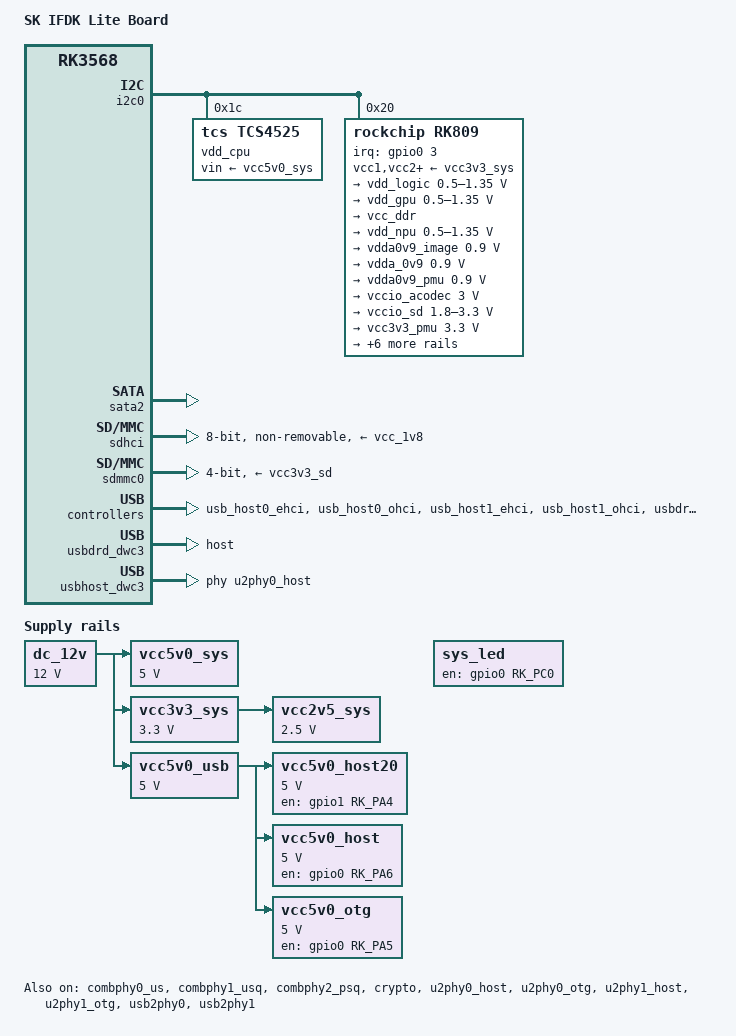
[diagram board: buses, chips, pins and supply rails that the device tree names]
// SPDX-License-Identifier: (GPL-2.0+ OR MIT)
/*
* Copyright (c) 2020 Rockchip Electronics Co., Ltd.
* Copyright (c) 2025 Sergey Kharenko
*/

/dts-v1/;

#include "rk3568.dtsi"
#include "rk3568-u-boot.dtsi"
#include <dt-bindings/input/input.h>

/ {
	model = "SK IFDK Lite Board";
	compatible = "sk,ifdk-lite", "rockchip,rk3568";

    aliases {
		mmc0 = &sdhci;
        mmc1 = &sdmmc0;
		scsi = &sata2;
	};

	dc_12v: dc-12v {
        u-boot,dm-pre-reloc;
		compatible = "regulator-fixed";
		regulator-name = "dc_12v";
		regulator-always-on;
		regulator-boot-on;
		regulator-min-microvolt = <12000000>;
		regulator-max-microvolt = <12000000>;
	};

    sys_led: sys-led {
		u-boot,dm-pre-reloc;
		compatible = "regulator-fixed";
        regulator-boot-on;
		regulator-name = "sys_led";
		enable-active-high;
        pinctrl-names = "default";
		pinctrl-0 = <&sys_led_pin>;
		gpios = <&gpio0 RK_PC0 GPIO_ACTIVE_HIGH>;
	};

    vcc5v0_sys: vcc5v0-sys {
        u-boot,dm-pre-reloc;
		compatible = "regulator-fixed";
		regulator-name = "vcc5v0_sys";
		regulator-always-on;
		regulator-boot-on;
		regulator-min-microvolt = <5000000>;
		regulator-max-microvolt = <5000000>;
        vin-supply = <&dc_12v>;
	};

    vcc3v3_sys: vcc3v3-sys {
        u-boot,dm-pre-reloc;
		compatible = "regulator-fixed";
		regulator-name = "vcc3v3_sys";
		regulator-always-on;
		regulator-boot-on;
		regulator-min-microvolt = <3300000>;
		regulator-max-microvolt = <3300000>;
        vin-supply = <&dc_12v>;
	};

    vcc2v5_sys: vcc2v5-ddr {
        u-boot,dm-pre-reloc;
		compatible = "regulator-fixed";
		regulator-name = "vcc2v5-sys";
		regulator-always-on;
		regulator-boot-on;
		regulator-min-microvolt = <2500000>;
		regulator-max-microvolt = <2500000>;
		vin-supply = <&vcc3v3_sys>;
	};

	vcc5v0_host20: vcc5v0-host20-regulator {
		u-boot,dm-pre-reloc;
		compatible = "regulator-fixed";
		regulator-name = "vcc5v0_host20";
		regulator-boot-on;
		regulator-always-on;
		regulator-min-microvolt = <5000000>;
		regulator-max-microvolt = <5000000>;
		enable-active-high;
		gpios = <&gpio1 RK_PA4 GPIO_ACTIVE_HIGH>;
		vin-supply = <&vcc5v0_usb>;
		pinctrl-names = "default";
		pinctrl-0 = <&vcc5v0_host20_en>;
	};

	vcc5v0_host: vcc5v0-host-regulator {
        u-boot,dm-pre-reloc;
		compatible = "regulator-fixed";
		regulator-name = "vcc5v0_host";
		regulator-boot-on;
		regulator-always-on;
		regulator-min-microvolt = <5000000>;
		regulator-max-microvolt = <5000000>;
		enable-active-high;
		gpios = <&gpio0 RK_PA6 GPIO_ACTIVE_HIGH>;
		vin-supply = <&vcc5v0_usb>;
		pinctrl-names = "default";
		pinctrl-0 = <&vcc5v0_host_en>;
	};

	vcc5v0_otg: vcc5v0-otg-regulator {
        u-boot,dm-pre-reloc;
		compatible = "regulator-fixed";
		regulator-name = "vcc5v0_otg";
        regulator-boot-on;
		regulator-always-on;
		regulator-min-microvolt = <5000000>;
		regulator-max-microvolt = <5000000>;
		enable-active-high;
		gpios = <&gpio0 RK_PA5 GPIO_ACTIVE_HIGH>;
		vin-supply = <&vcc5v0_usb>;
		pinctrl-names = "default";
		pinctrl-0 = <&vcc5v0_otg_en>;
	};

	vcc5v0_usb: vcc5v0-usb {
        u-boot,dm-pre-reloc;
		compatible = "regulator-fixed";
		regulator-name = "vcc5v0_usb";
		regulator-always-on;
		regulator-boot-on;
		regulator-min-microvolt = <5000000>;
		regulator-max-microvolt = <5000000>;
		vin-supply = <&dc_12v>;
	};
};

&combphy0_us {
    u-boot,dm-pre-reloc;
    status = "okay";
};

&combphy1_usq {
    u-boot,dm-pre-reloc;
    status = "okay";
};

&combphy2_psq {
	u-boot,dm-pre-reloc;
	status = "okay";
};

&crypto {
	status = "okay";
};

&gpio0 {
	u-boot,dm-pre-reloc;
	status = "okay";
};

&gpio1 {
	u-boot,dm-pre-reloc;
	status = "okay";
};

&gpio3 {
	u-boot,dm-pre-reloc;
	status = "okay";
};

&gpio4 {
	u-boot,dm-pre-reloc;
	status = "okay";
};

&i2c0 {
    u-boot,dm-pre-reloc;
	status = "okay";

	vdd_cpu: tcs4525@1c {
        u-boot,dm-pre-reloc;
		compatible = "tcs,tcs4525";
		reg = <0x1c>;
		vin-supply = <&vcc5v0_sys>;
		regulator-compatible = "fan53555-reg";
		regulator-name = "vdd_cpu";
		regulator-min-microvolt = <712500>;
		regulator-max-microvolt = <1390000>;
		regulator-init-microvolt = <900000>;
		regulator-ramp-delay = <2300>;
		fcs,suspend-voltage-selector = <1>;
		regulator-boot-on;
		regulator-always-on;
		regulator-state-mem {
            u-boot,dm-pre-reloc;
			regulator-off-in-suspend;
		};
	};

	rk809: pmic@20 {
        u-boot,dm-pre-reloc;
		compatible = "rockchip,rk809";
		reg = <0x20>;
		interrupt-parent = <&gpio0>;
		interrupts = <3 IRQ_TYPE_LEVEL_LOW>;

		pinctrl-names = "default", "pmic-sleep",
				"pmic-power-off", "pmic-reset";
		pinctrl-0 = <&pmic_int>;
		pinctrl-1 = <&soc_slppin_slp>, <&rk817_slppin_slp>;
		pinctrl-2 = <&soc_slppin_gpio>, <&rk817_slppin_pwrdn>;
		pinctrl-3 = <&soc_slppin_gpio>, <&rk817_slppin_rst>;

		rockchip,system-power-controller;
		wakeup-source;
		#clock-cells = <1>;
		clock-output-names = "rk808-clkout1", "rk808-clkout2";
		//fb-inner-reg-idxs = <2>;
		/* 1: rst regs (default in codes), 0: rst the pmic */
		pmic-reset-func = <0>;
		/* not save the PMIC_POWER_EN register in uboot */
		not-save-power-en = <1>;

		vcc1-supply = <&vcc3v3_sys>;
		vcc2-supply = <&vcc3v3_sys>;
		vcc3-supply = <&vcc3v3_sys>;
		vcc4-supply = <&vcc3v3_sys>;
		vcc5-supply = <&vcc3v3_sys>;
		vcc6-supply = <&vcc3v3_sys>;
		vcc7-supply = <&vcc3v3_sys>;
		vcc8-supply = <&vcc3v3_sys>;
		vcc9-supply = <&vcc3v3_sys>;

		pwrkey {
            u-boot,dm-pre-reloc;
			status = "okay";
		};

		pinctrl_rk8xx: pinctrl_rk8xx {
            u-boot,dm-pre-reloc;
			gpio-controller;
			#gpio-cells = <2>;

			rk817_slppin_null: rk817_slppin_null {
                u-boot,dm-pre-reloc;
				pins = "gpio_slp";
				function = "pin_fun0";
			};

			rk817_slppin_slp: rk817_slppin_slp {
                u-boot,dm-pre-reloc;
				pins = "gpio_slp";
				function = "pin_fun1";
			};

			rk817_slppin_pwrdn: rk817_slppin_pwrdn {
                u-boot,dm-pre-reloc;
				pins = "gpio_slp";
				function = "pin_fun2";
			};

			rk817_slppin_rst: rk817_slppin_rst {
                u-boot,dm-pre-reloc;
				pins = "gpio_slp";
				function = "pin_fun3";
			};
		};

		regulators {
            u-boot,dm-pre-reloc;
			vdd_logic: DCDC_REG1 {
                u-boot,dm-pre-reloc;
				regulator-always-on;
				regulator-boot-on;
				regulator-min-microvolt = <500000>;
				regulator-max-microvolt = <1350000>;
				regulator-init-microvolt = <900000>;
				regulator-ramp-delay = <6001>;
				regulator-initial-mode = <0x2>;
				regulator-name = "vdd_logic";
				regulator-state-mem {
                    u-boot,dm-pre-reloc;
					regulator-off-in-suspend;
				};
			};

			vdd_gpu: DCDC_REG2 {
                u-boot,dm-pre-reloc;
				regulator-always-on;
				regulator-boot-on;
				regulator-min-microvolt = <500000>;
				regulator-max-microvolt = <1350000>;
				regulator-init-microvolt = <900000>;
				regulator-ramp-delay = <6001>;
				regulator-initial-mode = <0x2>;
				regulator-name = "vdd_gpu";
				regulator-state-mem {
                    u-boot,dm-pre-reloc;
					regulator-off-in-suspend;
				};
			};

			vcc_ddr: DCDC_REG3 {
                u-boot,dm-pre-reloc;
				regulator-always-on;
				regulator-boot-on;
				regulator-initial-mode = <0x2>;
				regulator-name = "vcc_ddr";
				regulator-state-mem {
                    u-boot,dm-pre-reloc;
					regulator-on-in-suspend;
				};
			};

			vdd_npu: DCDC_REG4 {
                u-boot,dm-pre-reloc;
				regulator-always-on;
				regulator-boot-on;
				regulator-min-microvolt = <500000>;
				regulator-max-microvolt = <1350000>;
				regulator-init-microvolt = <900000>;
				regulator-ramp-delay = <6001>;
				regulator-initial-mode = <0x2>;
				regulator-name = "vdd_npu";
				regulator-state-mem {
                    u-boot,dm-pre-reloc;
					regulator-off-in-suspend;
				};
			};

			vdda0v9_image: LDO_REG1 {
                u-boot,dm-pre-reloc;
				regulator-boot-on;
				regulator-always-on;
				regulator-min-microvolt = <900000>;
				regulator-max-microvolt = <900000>;
				regulator-name = "vdda0v9_image";
				regulator-state-mem {
                    u-boot,dm-pre-reloc;
					regulator-off-in-suspend;
				};
			};

			vdda_0v9: LDO_REG2 {
                u-boot,dm-pre-reloc;
				regulator-always-on;
				regulator-boot-on;
				regulator-min-microvolt = <900000>;
				regulator-max-microvolt = <900000>;
				regulator-name = "vdda_0v9";
				regulator-state-mem {
                    u-boot,dm-pre-reloc;
					regulator-off-in-suspend;
				};
			};

			vdda0v9_pmu: LDO_REG3 {
                u-boot,dm-pre-reloc;
				regulator-always-on;
				regulator-boot-on;
				regulator-min-microvolt = <900000>;
				regulator-max-microvolt = <900000>;
				regulator-name = "vdda0v9_pmu";
				regulator-state-mem {
                    u-boot,dm-pre-reloc;
					regulator-on-in-suspend;
					regulator-suspend-microvolt = <900000>;
				};
			};

			vccio_acodec: LDO_REG4 {
                u-boot,dm-pre-reloc;
				regulator-always-on;
				regulator-boot-on;
				regulator-min-microvolt = <3000000>;
				regulator-max-microvolt = <3000000>;
				regulator-name = "vccio_acodec";
				regulator-state-mem {
                    u-boot,dm-pre-reloc;
					regulator-off-in-suspend;
				};
			};

			vccio_sd: LDO_REG5 {
                u-boot,dm-pre-reloc;
				regulator-always-on;
				regulator-boot-on;
				regulator-min-microvolt = <1800000>;
				regulator-max-microvolt = <3300000>;
				regulator-name = "vccio_sd";
				regulator-state-mem {
                    u-boot,dm-pre-reloc;
					regulator-off-in-suspend;
				};
			};

			vcc3v3_pmu: LDO_REG6 {
                u-boot,dm-pre-reloc;
				regulator-always-on;
				regulator-boot-on;
				regulator-min-microvolt = <3300000>;
				regulator-max-microvolt = <3300000>;
				regulator-name = "vcc3v3_pmu";
				regulator-state-mem {
                    u-boot,dm-pre-reloc;
					regulator-on-in-suspend;
					regulator-suspend-microvolt = <3300000>;
				};
			};

			vcca_1v8: LDO_REG7 {
                u-boot,dm-pre-reloc;
				regulator-always-on;
				regulator-boot-on;
				regulator-min-microvolt = <1800000>;
				regulator-max-microvolt = <1800000>;
				regulator-name = "vcca_1v8";
				regulator-state-mem {
                    u-boot,dm-pre-reloc;
					regulator-off-in-suspend;
				};
			};

			vcca1v8_pmu: LDO_REG8 {
                u-boot,dm-pre-reloc;
				regulator-always-on;
				regulator-boot-on;
				regulator-min-microvolt = <1800000>;
				regulator-max-microvolt = <1800000>;
				regulator-name = "vcca1v8_pmu";
				regulator-state-mem {
                    u-boot,dm-pre-reloc;
					regulator-on-in-suspend;
					regulator-suspend-microvolt = <1800000>;
				};
			};

			vcca1v8_image: LDO_REG9 {
                u-boot,dm-pre-reloc;
				regulator-always-on;
				regulator-boot-on;
				regulator-min-microvolt = <1800000>;
				regulator-max-microvolt = <1800000>;
				regulator-name = "vcca1v8_image";
				regulator-state-mem {
                    u-boot,dm-pre-reloc;
					regulator-off-in-suspend;
				};
			};

			vcc_1v8: DCDC_REG5 {
                u-boot,dm-pre-reloc;
				regulator-always-on;
				regulator-boot-on;
				regulator-min-microvolt = <1800000>;
				regulator-max-microvolt = <1800000>;
				regulator-name = "vcc_1v8";
				regulator-state-mem {
                    u-boot,dm-pre-reloc;
					regulator-off-in-suspend;
				};
			};

			vcc_3v3: SWITCH_REG1 {
                u-boot,dm-pre-reloc;
				regulator-always-on;
				regulator-boot-on;
				regulator-name = "vcc_3v3";
				regulator-state-mem {
                    u-boot,dm-pre-reloc;
					regulator-off-in-suspend;
				};
			};

			vcc3v3_sd: SWITCH_REG2 {
                u-boot,dm-pre-reloc;
				regulator-always-on;
				regulator-boot-on;
				regulator-name = "vcc3v3_sd";
				regulator-state-mem {
                    u-boot,dm-pre-reloc;
					regulator-off-in-suspend;
				};
			};
		};
	};
};

&pinctrl {
    u-boot,dm-spl;
	leds {
        u-boot,dm-pre-reloc;
		sys_led_pin: sys-led-pin {
            u-boot,dm-pre-reloc;
			rockchip,pins = <0 RK_PC0 RK_FUNC_GPIO &pcfg_pull_none>;
		};
	};

	pmic {
        u-boot,dm-pre-reloc;
		pmic_int: pmic_int {
            u-boot,dm-pre-reloc;
			rockchip,pins =
				<0 RK_PA3 RK_FUNC_GPIO &pcfg_pull_up>;
		};

		soc_slppin_gpio: soc_slppin_gpio {
            u-boot,dm-pre-reloc;
			rockchip,pins =
				<0 RK_PA2 RK_FUNC_GPIO &pcfg_output_low>;
		};

		soc_slppin_slp: soc_slppin_slp {
            u-boot,dm-pre-reloc;
			rockchip,pins =
				<0 RK_PA2 1 &pcfg_pull_none>;
		};

		soc_slppin_rst: soc_slppin_rst {
            u-boot,dm-pre-reloc;
			rockchip,pins =
				<0 RK_PA2 2 &pcfg_pull_none>;
		};
	};

	usb {
        u-boot,dm-pre-reloc;
		vcc5v0_host20_en: vcc5v0-host20-en {
			u-boot,dm-pre-reloc;
			rockchip,pins = <1 RK_PA4 RK_FUNC_GPIO &pcfg_pull_none>;
		};

		vcc5v0_host_en: vcc5v0-host-en {
            u-boot,dm-pre-reloc;
			rockchip,pins = <0 RK_PA6 RK_FUNC_GPIO &pcfg_pull_none>;
		};

		vcc5v0_otg_en: vcc5v0-otg-en {
            u-boot,dm-pre-reloc;
			rockchip,pins = <0 RK_PA5 RK_FUNC_GPIO &pcfg_pull_none>;
		};
	};
};

&pipe_phy_grf1 {
	u-boot,dm-pre-reloc;
};

&pmu_io_domains {
    u-boot,dm-pre-reloc;
	status = "okay";
	pmuio2-supply = <&vcc3v3_pmu>;
	vccio1-supply = <&vccio_acodec>;
	vccio3-supply = <&vccio_sd>;
	vccio4-supply = <&vcc_1v8>;
	vccio5-supply = <&vcc_3v3>;
	vccio6-supply = <&vcc_1v8>;
	vccio7-supply = <&vcc_3v3>;
};

&sata2 {
    u-boot,dm-pre-reloc;
	status = "okay";
};

&sdhci {
    u-boot,dm-pre-reloc;
	bus-width = <8>;
	non-removable;
    supports-emmc;
    /delete-property/ mmc-hs200-1_8v;
    mmc-hs400-1_8v;
	mmc-hs400-enhanced-strobe;
	max-frequency = <200000000>;
	full-pwr-cycle-in-suspend;
	vmmc-supply = <&vcc_1v8>;
	vqmmc-supply = <&vcc_1v8>;
	status = "okay";
};

&sdmmc0 {
    u-boot,dm-pre-reloc;
	max-frequency = <150000000>;
	no-sdio;
	no-mmc;
	bus-width = <4>;
	cap-mmc-highspeed;
	cap-sd-highspeed;
	disable-wp;
	sd-uhs-sdr104;
	vmmc-supply = <&vcc3v3_sd>;
	vqmmc-supply = <&vccio_sd>;
	pinctrl-names = "default";
	pinctrl-0 = <&sdmmc0_bus4 &sdmmc0_clk &sdmmc0_cmd &sdmmc0_det>;
	status = "okay";
};

&u2phy0_host {
    u-boot,dm-pre-reloc;
	phy-supply = <&vcc5v0_host>;
	status = "okay";
};

&u2phy0_otg {
    u-boot,dm-pre-reloc;
	dr_mode = "host";
	vbus-supply = <&vcc5v0_otg>;
	status = "okay";
};

&u2phy1_host {
    u-boot,dm-pre-reloc;
	phy-supply = <&vcc5v0_host>;
	status = "okay";
};

&u2phy1_otg {
    u-boot,dm-pre-reloc;
	phy-supply = <&vcc5v0_host20>;
	status = "okay";
};

&usb2phy0 {
    u-boot,dm-pre-reloc;
	status = "okay";
};

&usb2phy1 {
    u-boot,dm-pre-reloc;
	status = "okay";
};

&usb_host0_ehci {
    u-boot,dm-pre-reloc;
	status = "okay";
};

&usb_host0_ohci {
    u-boot,dm-pre-reloc;
	status = "okay";
};

&usb_host1_ehci {
    u-boot,dm-pre-reloc;
	status = "okay";
};

&usb_host1_ohci {
    u-boot,dm-pre-reloc;
	status = "okay";
};

&usbdrd_dwc3 {
    u-boot,dm-pre-reloc;
	dr_mode = "host";
	extcon = <&usb2phy0>;
    maximum-speed = "super-speed";
	status = "okay";
};

&usbdrd30 {
    u-boot,dm-pre-reloc;
	status = "okay";
};

&usbhost_dwc3 {
    u-boot,dm-pre-reloc;
    phys = <&u2phy0_host>, <&combphy1_usq PHY_TYPE_USB3>;
    phy-names = "usb2-phy", "usb3-phy";
    maximum-speed = "super-speed";
	status = "okay";
};

&usbhost30 {
    u-boot,dm-pre-reloc;
	status = "okay";
};
